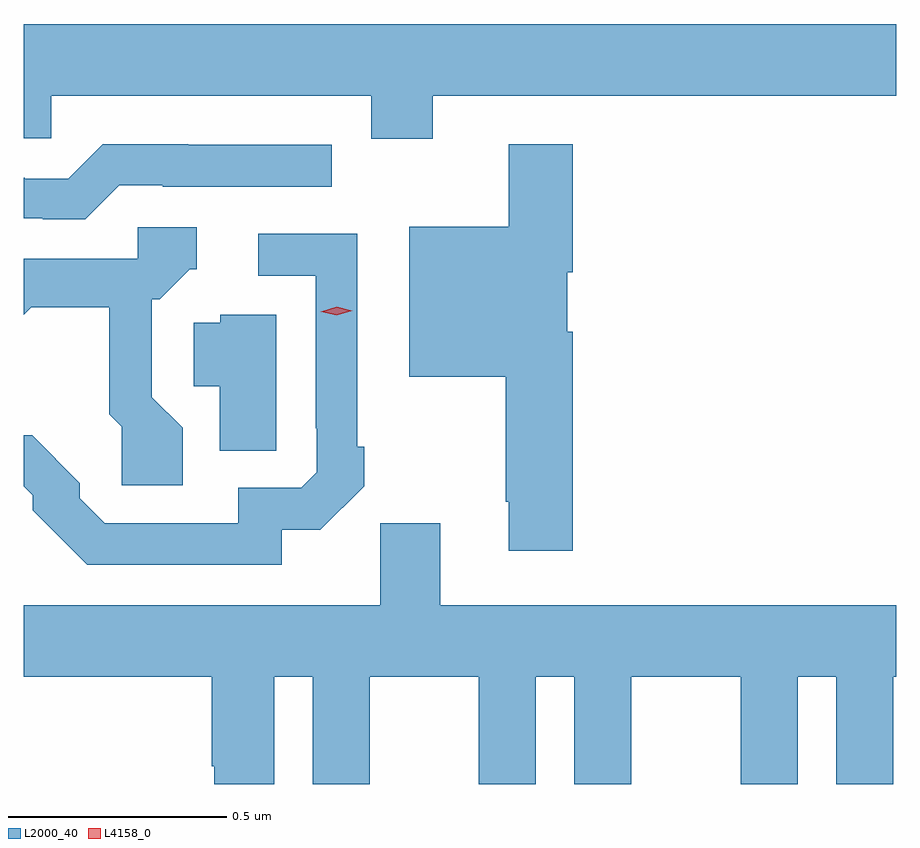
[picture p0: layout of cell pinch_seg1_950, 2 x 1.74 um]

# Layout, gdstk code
import gdstk
lib = gdstk.Library(unit=1e-6, precision=1e-09)
def P(c, l, *ps):  # polygons
    for p in ps: c.add(gdstk.Polygon(p, *l))
L2000_40 = (2000, 40)
L4158_0 = (4158, 0)

pinch_seg1_950 = lib.new_cell('pinch_seg1_950')
P(pinch_seg1_950, L2000_40, [(234.439,527.756),(235.502,527.756),(235.502,527.92),(233.502,527.92),(233.502,527.658),(233.565,527.658),(233.565,527.756),(234.299,527.756),(234.299,527.657),(234.439,527.657)],
  [(234.761,527.215),(234.748,527.215),(234.748,527.351),(234.761,527.351),(234.761,527.644),(234.614,527.644),(234.614,527.455),(234.386,527.455),(234.386,527.111),(234.607,527.111),(234.607,526.825),(234.614,526.825),(234.614,526.713),(234.761,526.713)],
  [(233.721,527.55),(233.821,527.55),(233.821,527.547),(234.208,527.547),(234.208,527.643),(233.879,527.643),(233.879,527.644),(233.683,527.644),(233.604,527.565),(233.504,527.565),(233.504,527.568),(233.502,527.568),(233.502,527.475),(233.546,527.475),(233.546,527.472),(233.643,527.472)],
  [(233.866,526.994),(233.796,527.064),(233.796,527.289),(233.814,527.289),(233.883,527.358),(233.899,527.358),(233.899,527.454),(233.763,527.454),(233.763,527.382),(233.502,527.382),(233.502,527.254),(233.519,527.271),(233.698,527.271),(233.698,527.026),(233.727,526.997),(233.727,526.863),(233.866,526.863)],
  [(234.093,526.761),(234.182,526.761),(234.282,526.86),(234.282,526.951),(234.267,526.951),(234.267,527.439),(234.039,527.439),(234.039,527.343),(234.171,527.343),(234.171,526.993),(234.174,526.993),(234.174,526.893),(234.138,526.857),(233.994,526.857),(233.994,526.776),(233.688,526.776),(233.631,526.833),(233.631,526.867),(233.521,526.977),(233.502,526.977),(233.502,526.86),(233.523,526.84),(233.523,526.805),(233.648,526.68),(234.093,526.68)],
  [(234.081,527.254),(233.952,527.254),(233.952,527.235),(233.892,527.235),(233.892,527.09),(233.951,527.09),(233.951,526.942),(234.081,526.942)],
  [(234.076,526.424),(234.164,526.424),(234.164,526.178),(234.295,526.178),(234.295,526.424),(234.545,526.424),(234.545,526.178),(234.676,526.178),(234.676,526.424),(234.764,526.424),(234.764,526.178),(234.895,526.178),(234.895,526.424),(235.145,526.424),(235.145,526.178),(235.276,526.178),(235.276,526.424),(235.364,526.424),(235.364,526.178),(235.495,526.178),(235.495,526.424),(235.502,526.424),(235.502,526.588),(234.457,526.588),(234.457,526.776),(234.319,526.776),(234.319,526.588),(233.502,526.588),(233.502,526.424),(233.933,526.424),(233.933,526.219),(233.939,526.219),(233.939,526.178),(234.076,526.178)])
P(pinch_seg1_950, L4158_0, [(234.22,527.252),(234.183,527.26),(234.183,527.26),(234.183,527.26),(234.219,527.272),(234.255,527.263),(234.255,527.263),(234.255,527.263)])

lib.write_gds('pinch_seg1_950.gds')
